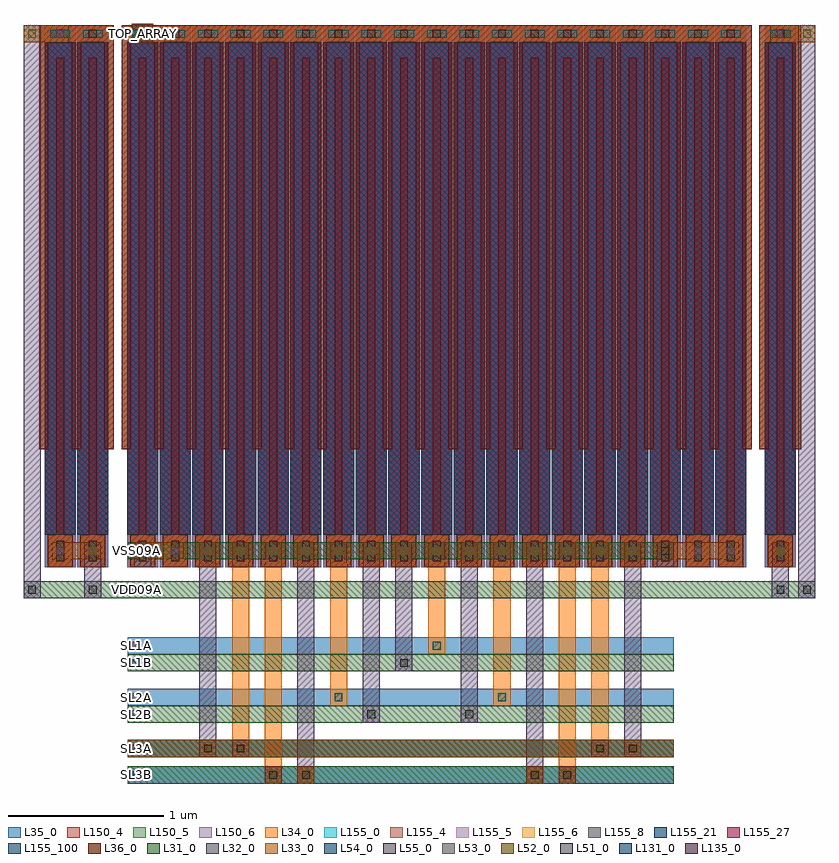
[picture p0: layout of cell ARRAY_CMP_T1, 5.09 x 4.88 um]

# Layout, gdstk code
from math import pi, radians
import gdstk
lib = gdstk.Library(unit=1e-6, precision=1e-09)
def R(c, l, rs):  # rectangles x0, y0, x1, y1
    for r in rs: c.add(gdstk.rectangle(r[:2], r[2:], *l))
def A(c, l, x, y, w, h, nx, ny, dx, dy):  # array of equal rectangles
    R(c, l, [(x+i*dx, y+j*dy, x+i*dx+w, y+j*dy+h) for i in range(nx) for j in range(ny)])
L31_0 = (31, 0)
L32_0 = (32, 0)
L33_0 = (33, 0)
L34_0 = (34, 0)
L35_0 = (35, 0)
L36_0 = (36, 0)
L51_0 = (51, 0)
L52_0 = (52, 0)
L53_0 = (53, 0)
L54_0 = (54, 0)
L55_0 = (55, 0)
L131_0 = (131, 0)
L135_0 = (135, 0)
L150_4 = (150, 4)
L150_5 = (150, 5)
L150_6 = (150, 6)
L155_0 = (155, 0)
L155_4 = (155, 4)
L155_5 = (155, 5)
L155_6 = (155, 6)
L155_8 = (155, 8)
L155_21 = (155, 21)
L155_27 = (155, 27)
L155_100 = (155, 100)

m5_m4_cdns_617525346187 = lib.new_cell('M5_M4_CDNS_617525346187')
R(m5_m4_cdns_617525346187, L34_0, [(-0.07,-0.105,0.07,0.105)])
R(m5_m4_cdns_617525346187, L35_0, [(-0.07,-0.105,0.07,0.105)])
R(m5_m4_cdns_617525346187, L54_0, [(-0.025,-0.065,0.025,0.065)])

m6_m5_cdns_617525346188 = lib.new_cell('M6_M5_CDNS_617525346188')
R(m6_m5_cdns_617525346188, L35_0, [(-0.07,-0.105,0.07,0.105)])
R(m6_m5_cdns_617525346188, L36_0, [(-0.055,-0.105,0.055,0.105)])
R(m6_m5_cdns_617525346188, L55_0, [(-0.025,-0.065,0.025,0.065)])

m5_m4_cdns_617525346189 = lib.new_cell('M5_M4_CDNS_617525346189')
R(m5_m4_cdns_617525346189, L34_0, [(-0.095,-0.055,0.095,0.055)])
R(m5_m4_cdns_617525346189, L35_0, [(-0.12,-0.055,0.12,0.055)])
R(m5_m4_cdns_617525346189, L54_0, [(-0.065,-0.025,0.065,0.025)])

m6_m5_cdns_6175253461810 = lib.new_cell('M6_M5_CDNS_6175253461810')
R(m6_m5_cdns_6175253461810, L35_0, [(-0.055,-0.055,0.055,0.055)])
R(m6_m5_cdns_6175253461810, L36_0, [(-0.055,-0.055,0.055,0.055)])
R(m6_m5_cdns_6175253461810, L55_0, [(-0.025,-0.025,0.025,0.025)])

cu1f_v2 = lib.new_cell('CU1F_v2')
R(cu1f_v2, L34_0, [(0.02,0,0.18,0.21), (-0.035,3.375,0.235,3.485)])
R(cu1f_v2, L35_0, [(0.02,0,0.18,0.21), (-0.035,3.375,0.235,3.485)])
R(cu1f_v2, L36_0, [(0.02,0,0.18,0.21), (-0.035,3.375,0.235,3.485)])
R(cu1f_v2, L150_4, [(0,0,0.2,3.485)])
R(cu1f_v2, L150_5, [(0,0,0.2,3.485)])
R(cu1f_v2, L150_6, [(0,0,0.2,3.485)])
R(cu1f_v2, L155_0, [(0,0.21,0.2,3.375)])
R(cu1f_v2, L155_4, [(0,0.21,0.2,3.375)])
R(cu1f_v2, L155_5, [(0,0.21,0.2,3.375)])
R(cu1f_v2, L155_6, [(0,0.21,0.2,3.375)])
R(cu1f_v2, L155_8, [(0,0.21,0.2,3.375)])
R(cu1f_v2, L155_21, [(0,0.21,0.2,3.375)])
R(cu1f_v2, L155_27, [(0,0.21,0.2,3.375)])
R(cu1f_v2, L155_100, [(0,0.21,0.2,3.375)])
cu1f_v2.add(gdstk.FlexPath([(0.205,3.455),(0.205,0.76)], 0.06, ends=(0.03, 0), simple_path=True, layer=34, datatype=0))  # L34_0
cu1f_v2.add(gdstk.FlexPath([(0.1,3.275),(0.1,0)], 0.05, ends="flush", simple_path=True, layer=34, datatype=0))  # L34_0
cu1f_v2.add(gdstk.FlexPath([(-0.005,3.455),(-0.005,0.76)], 0.06, ends=(0.03, 0), simple_path=True, layer=34, datatype=0))  # L34_0
cu1f_v2.add(gdstk.FlexPath([(0.205,0.76),(0.205,3.455)], 0.06, ends=(0, 0.03), simple_path=True, layer=35, datatype=0))  # L35_0
cu1f_v2.add(gdstk.FlexPath([(0.1,3.275),(0.1,0)], 0.05, ends="flush", simple_path=True, layer=35, datatype=0))  # L35_0
cu1f_v2.add(gdstk.FlexPath([(-0.005,0.76),(-0.005,3.455)], 0.06, ends=(0, 0.03), simple_path=True, layer=35, datatype=0))  # L35_0
cu1f_v2.add(gdstk.FlexPath([(0.205,0.76),(0.205,3.455)], 0.06, ends=(0, 0.03), simple_path=True, layer=36, datatype=0))  # L36_0
cu1f_v2.add(gdstk.FlexPath([(0.1,3.275),(0.1,0)], 0.05, ends="flush", simple_path=True, layer=36, datatype=0))  # L36_0
cu1f_v2.add(gdstk.FlexPath([(-0.005,0.76),(-0.005,3.455)], 0.06, ends=(0, 0.03), simple_path=True, layer=36, datatype=0))  # L36_0
cu1f_v2.add(gdstk.Reference(m5_m4_cdns_617525346187, (0.1,0.105), rotation=pi, x_reflection=True))
cu1f_v2.add(gdstk.Reference(m6_m5_cdns_617525346188, (0.1,0.105), rotation=pi, x_reflection=True))
cu1f_v2.add(gdstk.Reference(m5_m4_cdns_617525346189, (0.1,3.43)))
cu1f_v2.add(gdstk.Reference(m6_m5_cdns_6175253461810, (0.1,3.43)))

m2_m1_cdns_617525346180 = lib.new_cell('M2_M1_CDNS_617525346180')
R(m2_m1_cdns_617525346180, L31_0, [(-0.055,-0.055,0.055,0.055)])
R(m2_m1_cdns_617525346180, L32_0, [(-0.055,-0.055,0.055,0.055)])
R(m2_m1_cdns_617525346180, L51_0, [(-0.025,-0.025,0.025,0.025)])

m3_m2_cdns_617525346181 = lib.new_cell('M3_M2_CDNS_617525346181')
R(m3_m2_cdns_617525346181, L32_0, [(-0.055,-0.055,0.055,0.055)])
R(m3_m2_cdns_617525346181, L33_0, [(-0.055,-0.055,0.055,0.055)])
R(m3_m2_cdns_617525346181, L52_0, [(-0.025,-0.025,0.025,0.025)])

m4_m3_cdns_617525346182 = lib.new_cell('M4_M3_CDNS_617525346182')
R(m4_m3_cdns_617525346182, L33_0, [(-0.055,-0.055,0.055,0.055)])
R(m4_m3_cdns_617525346182, L34_0, [(-0.055,-0.055,0.055,0.055)])
R(m4_m3_cdns_617525346182, L53_0, [(-0.025,-0.025,0.025,0.025)])

m4_m3_cdns_617525346183 = lib.new_cell('M4_M3_CDNS_617525346183')
R(m4_m3_cdns_617525346183, L33_0, [(-0.07,-0.065,0.07,0.065)])
R(m4_m3_cdns_617525346183, L34_0, [(-0.055,-0.055,0.055,0.055)])
R(m4_m3_cdns_617525346183, L53_0, [(-0.025,-0.025,0.025,0.025)])

m3_m2_cdns_617525346184 = lib.new_cell('M3_M2_CDNS_617525346184')
R(m3_m2_cdns_617525346184, L32_0, [(-0.065,-0.06,0.065,0.06)])
R(m3_m2_cdns_617525346184, L33_0, [(-0.07,-0.065,0.07,0.065)])
R(m3_m2_cdns_617525346184, L52_0, [(-0.025,-0.025,0.025,0.025)])

m2_m1_cdns_617525346185 = lib.new_cell('M2_M1_CDNS_617525346185')
R(m2_m1_cdns_617525346185, L31_0, [(-0.055,-0.055,0.055,0.055)])
R(m2_m1_cdns_617525346185, L32_0, [(-0.065,-0.06,0.065,0.06)])
R(m2_m1_cdns_617525346185, L51_0, [(-0.025,-0.025,0.025,0.025)])

m5_m4_cdns_617525346186 = lib.new_cell('M5_M4_CDNS_617525346186')
R(m5_m4_cdns_617525346186, L34_0, [(-0.055,-0.055,0.055,0.055)])
R(m5_m4_cdns_617525346186, L35_0, [(-0.055,-0.055,0.055,0.055)])
R(m5_m4_cdns_617525346186, L54_0, [(-0.025,-0.025,0.025,0.025)])

array_cmp_t1 = lib.new_cell('ARRAY_CMP_T1')
R(array_cmp_t1, L31_0, [(0.535,-1.39,4.045,-1.28), (0.535,-1.22,4.045,-1.11), (0.535,-1,4.045,-0.89), (0.535,-0.67,4.045,-0.56), (-0.135,-0.2,4.955,-0.09), (0.535,0.05,4.045,0.16), (0.56,3.365,0.7,3.495)])
R(array_cmp_t1, L32_0, [(1.625,-1.39,1.735,0.16), (3.095,-1.39,3.205,0.16), (0.995,-1.22,1.105,0.16), (3.725,-1.22,3.835,0.16), (2.045,-1,2.155,0.16), (2.675,-1,2.785,0.16), (2.255,-0.67,2.365,0.16), (-0.135,-0.2,-0.025,3.485), (0.255,-0.2,0.365,0.16), (4.675,-0.2,4.785,0.16), (4.845,-0.2,4.955,3.485), (0.575,0,0.685,0.16), (3.935,0,4.045,0.16)])
A(array_cmp_t1, L33_0, 0.995, 0, 0.11, 0.16, 14, 1, 0.21, 0)
R(array_cmp_t1, L33_0, [(0.535,-1.22,4.045,-1.11), (4.675,0,4.785,0.16), (0.045,0.05,0.365,0.16), (0.575,0.05,0.895,0.16), (3.935,0.05,4.465,0.16), (-0.135,3.375,0.155,3.485), (4.665,3.375,4.955,3.485)])
R(array_cmp_t1, L34_0, [(1.415,-1.39,1.525,0.16), (3.305,-1.39,3.415,0.16), (1.205,-1.22,1.315,0.16), (3.515,-1.22,3.625,0.16), (1.835,-0.89,1.945,0.16), (2.885,-0.89,2.995,0.16), (2.465,-0.56,2.575,0.16)])
A(array_cmp_t1, L35_0, 0.535, -1.22, 3.51, 0.11, 1, 3, 0, 0.33)
R(array_cmp_t1, L35_0, [(0.535,-1.39,4.045,-1.28)])
R(array_cmp_t1, L131_0, [(0.565,-1.36,0.615,-1.31), (0.565,-0.97,0.615,-0.92), (0.565,-0.64,0.615,-0.59), (0.565,-0.17,0.615,-0.12), (0.565,0.08,0.615,0.13), (0.605,3.405,0.655,3.455)])
A(array_cmp_t1, L135_0, 0.565, -1.19, 0.05, 0.05, 1, 3, 0, 0.33)
array_cmp_t1.add(gdstk.Reference(cu1f_v2, (0,0)))
array_cmp_t1.add(gdstk.Reference(cu1f_v2, (0.21,0)))
array_cmp_t1.add(gdstk.Reference(cu1f_v2, (0.53,0)))
array_cmp_t1.add(gdstk.Reference(cu1f_v2, (0.74,0)))
array_cmp_t1.add(gdstk.Reference(cu1f_v2, (4.63,0)))
array_cmp_t1.add(gdstk.Reference(cu1f_v2, (4.31,0)))
array_cmp_t1.add(gdstk.Reference(cu1f_v2, (4.1,0)))
array_cmp_t1.add(gdstk.Reference(cu1f_v2, (3.89,0)))
array_cmp_t1.add(gdstk.Reference(cu1f_v2, (3.68,0)))
array_cmp_t1.add(gdstk.Reference(cu1f_v2, (3.47,0)))
array_cmp_t1.add(gdstk.Reference(cu1f_v2, (3.26,0)))
array_cmp_t1.add(gdstk.Reference(cu1f_v2, (3.05,0)))
array_cmp_t1.add(gdstk.Reference(cu1f_v2, (2.84,0)))
array_cmp_t1.add(gdstk.Reference(cu1f_v2, (2.63,0)))
array_cmp_t1.add(gdstk.Reference(cu1f_v2, (2.42,0)))
array_cmp_t1.add(gdstk.Reference(cu1f_v2, (2.21,0)))
array_cmp_t1.add(gdstk.Reference(cu1f_v2, (2,0)))
array_cmp_t1.add(gdstk.Reference(cu1f_v2, (1.79,0)))
array_cmp_t1.add(gdstk.Reference(cu1f_v2, (1.58,0)))
array_cmp_t1.add(gdstk.Reference(cu1f_v2, (1.37,0)))
array_cmp_t1.add(gdstk.Reference(cu1f_v2, (1.16,0)))
array_cmp_t1.add(gdstk.Reference(cu1f_v2, (0.95,0)))
array_cmp_t1.add(gdstk.Reference(m2_m1_cdns_617525346180, (3.15,-1.335)))
array_cmp_t1.add(gdstk.Reference(m2_m1_cdns_617525346180, (3.36,-1.335)))
array_cmp_t1.add(gdstk.Reference(m2_m1_cdns_617525346180, (3.57,-1.165)))
array_cmp_t1.add(gdstk.Reference(m2_m1_cdns_617525346180, (1.47,-1.335)))
array_cmp_t1.add(gdstk.Reference(m2_m1_cdns_617525346180, (1.68,-1.335)))
array_cmp_t1.add(gdstk.Reference(m2_m1_cdns_617525346180, (4.9,-0.145)))
array_cmp_t1.add(gdstk.Reference(m2_m1_cdns_617525346180, (-0.08,-0.145)))
array_cmp_t1.add(gdstk.Reference(m2_m1_cdns_617525346180, (3.99,0.105)))
array_cmp_t1.add(gdstk.Reference(m2_m1_cdns_617525346180, (4.73,-0.145)))
array_cmp_t1.add(gdstk.Reference(m2_m1_cdns_617525346180, (0.31,-0.145)))
array_cmp_t1.add(gdstk.Reference(m2_m1_cdns_617525346180, (2.31,-0.615)))
array_cmp_t1.add(gdstk.Reference(m2_m1_cdns_617525346180, (2.1,-0.945)))
array_cmp_t1.add(gdstk.Reference(m2_m1_cdns_617525346180, (2.73,-0.945)))
array_cmp_t1.add(gdstk.Reference(m2_m1_cdns_617525346180, (1.26,-1.165)))
array_cmp_t1.add(gdstk.Reference(m2_m1_cdns_617525346180, (3.78,-1.165)))
array_cmp_t1.add(gdstk.Reference(m2_m1_cdns_617525346180, (1.05,-1.165)))
array_cmp_t1.add(gdstk.Reference(m2_m1_cdns_617525346180, (0.63,0.105)))
array_cmp_t1.add(gdstk.Reference(m3_m2_cdns_617525346181, (3.15,-1.335)))
array_cmp_t1.add(gdstk.Reference(m3_m2_cdns_617525346181, (3.36,-1.335)))
array_cmp_t1.add(gdstk.Reference(m3_m2_cdns_617525346181, (3.57,-1.165)))
array_cmp_t1.add(gdstk.Reference(m3_m2_cdns_617525346181, (1.47,-1.335)))
array_cmp_t1.add(gdstk.Reference(m3_m2_cdns_617525346181, (1.68,-1.335)))
array_cmp_t1.add(gdstk.Reference(m3_m2_cdns_617525346181, (4.9,3.43)))
array_cmp_t1.add(gdstk.Reference(m3_m2_cdns_617525346181, (-0.08,3.43)))
array_cmp_t1.add(gdstk.Reference(m3_m2_cdns_617525346181, (1.05,0.105)))
array_cmp_t1.add(gdstk.Reference(m3_m2_cdns_617525346181, (1.26,0.105)))
array_cmp_t1.add(gdstk.Reference(m3_m2_cdns_617525346181, (1.47,0.105)))
array_cmp_t1.add(gdstk.Reference(m3_m2_cdns_617525346181, (1.68,0.105)))
array_cmp_t1.add(gdstk.Reference(m3_m2_cdns_617525346181, (1.89,0.105)))
array_cmp_t1.add(gdstk.Reference(m3_m2_cdns_617525346181, (2.1,0.105)))
array_cmp_t1.add(gdstk.Reference(m3_m2_cdns_617525346181, (2.31,0.105)))
array_cmp_t1.add(gdstk.Reference(m3_m2_cdns_617525346181, (2.52,0.105)))
array_cmp_t1.add(gdstk.Reference(m3_m2_cdns_617525346181, (2.73,0.105)))
array_cmp_t1.add(gdstk.Reference(m3_m2_cdns_617525346181, (2.94,0.105)))
array_cmp_t1.add(gdstk.Reference(m3_m2_cdns_617525346181, (3.15,0.105)))
array_cmp_t1.add(gdstk.Reference(m3_m2_cdns_617525346181, (3.36,0.105)))
array_cmp_t1.add(gdstk.Reference(m3_m2_cdns_617525346181, (3.57,0.105)))
array_cmp_t1.add(gdstk.Reference(m3_m2_cdns_617525346181, (3.78,0.105)))
array_cmp_t1.add(gdstk.Reference(m3_m2_cdns_617525346181, (4.73,0.105)))
array_cmp_t1.add(gdstk.Reference(m3_m2_cdns_617525346181, (3.99,0.105)))
array_cmp_t1.add(gdstk.Reference(m3_m2_cdns_617525346181, (0.63,0.105)))
array_cmp_t1.add(gdstk.Reference(m3_m2_cdns_617525346181, (1.26,-1.165)))
array_cmp_t1.add(gdstk.Reference(m3_m2_cdns_617525346181, (0.31,0.105)))
array_cmp_t1.add(gdstk.Reference(m3_m2_cdns_617525346181, (3.78,-1.165)))
array_cmp_t1.add(gdstk.Reference(m3_m2_cdns_617525346181, (1.05,-1.165)))
array_cmp_t1.add(gdstk.Reference(m4_m3_cdns_617525346182, (3.15,-1.335)))
array_cmp_t1.add(gdstk.Reference(m4_m3_cdns_617525346182, (3.36,-1.335)))
array_cmp_t1.add(gdstk.Reference(m4_m3_cdns_617525346182, (3.57,-1.165)))
array_cmp_t1.add(gdstk.Reference(m4_m3_cdns_617525346182, (1.68,-1.335)))
array_cmp_t1.add(gdstk.Reference(m4_m3_cdns_617525346182, (4.72,3.43), rotation=pi, x_reflection=True))
array_cmp_t1.add(gdstk.Reference(m4_m3_cdns_617525346182, (0.1,3.43)))
array_cmp_t1.add(gdstk.Reference(m4_m3_cdns_617525346182, (1.05,0.105)))
array_cmp_t1.add(gdstk.Reference(m4_m3_cdns_617525346182, (1.26,0.105)))
array_cmp_t1.add(gdstk.Reference(m4_m3_cdns_617525346182, (1.47,0.105)))
array_cmp_t1.add(gdstk.Reference(m4_m3_cdns_617525346182, (1.68,0.105)))
array_cmp_t1.add(gdstk.Reference(m4_m3_cdns_617525346182, (1.89,0.105)))
array_cmp_t1.add(gdstk.Reference(m4_m3_cdns_617525346182, (2.1,0.105)))
array_cmp_t1.add(gdstk.Reference(m4_m3_cdns_617525346182, (2.31,0.105)))
array_cmp_t1.add(gdstk.Reference(m4_m3_cdns_617525346182, (2.52,0.105)))
array_cmp_t1.add(gdstk.Reference(m4_m3_cdns_617525346182, (2.73,0.105)))
array_cmp_t1.add(gdstk.Reference(m4_m3_cdns_617525346182, (2.94,0.105)))
array_cmp_t1.add(gdstk.Reference(m4_m3_cdns_617525346182, (3.15,0.105)))
array_cmp_t1.add(gdstk.Reference(m4_m3_cdns_617525346182, (3.36,0.105)))
array_cmp_t1.add(gdstk.Reference(m4_m3_cdns_617525346182, (3.57,0.105)))
array_cmp_t1.add(gdstk.Reference(m4_m3_cdns_617525346182, (3.78,0.105)))
array_cmp_t1.add(gdstk.Reference(m4_m3_cdns_617525346182, (4.73,0.105)))
array_cmp_t1.add(gdstk.Reference(m4_m3_cdns_617525346182, (4.2,0.105)))
array_cmp_t1.add(gdstk.Reference(m4_m3_cdns_617525346182, (4.41,0.105)))
array_cmp_t1.add(gdstk.Reference(m4_m3_cdns_617525346182, (3.99,0.105)))
array_cmp_t1.add(gdstk.Reference(m4_m3_cdns_617525346182, (0.84,0.105)))
array_cmp_t1.add(gdstk.Reference(m4_m3_cdns_617525346182, (0.63,0.105)))
array_cmp_t1.add(gdstk.Reference(m4_m3_cdns_617525346182, (0.1,0.105)))
array_cmp_t1.add(gdstk.Reference(m4_m3_cdns_617525346182, (0.31,0.105)))
array_cmp_t1.add(gdstk.Reference(m4_m3_cdns_617525346182, (1.47,-1.335)))
array_cmp_t1.add(gdstk.Reference(m4_m3_cdns_617525346182, (1.26,-1.165)))
array_cmp_t1.add(gdstk.Reference(m4_m3_cdns_617525346182, (3.78,-1.165)))
array_cmp_t1.add(gdstk.Reference(m4_m3_cdns_617525346182, (1.05,-1.165)))
array_cmp_t1.add(gdstk.Reference(m4_m3_cdns_617525346183, (0.63,3.43)))
array_cmp_t1.add(gdstk.Reference(m3_m2_cdns_617525346184, (0.63,3.43)))
array_cmp_t1.add(gdstk.Reference(m2_m1_cdns_617525346185, (0.63,3.43)))
array_cmp_t1.add(gdstk.Reference(m5_m4_cdns_617525346186, (3.15,-1.335)))
array_cmp_t1.add(gdstk.Reference(m5_m4_cdns_617525346186, (1.89,-0.835)))
array_cmp_t1.add(gdstk.Reference(m5_m4_cdns_617525346186, (2.94,-0.835)))
array_cmp_t1.add(gdstk.Reference(m5_m4_cdns_617525346186, (2.52,-0.505)))
array_cmp_t1.add(gdstk.Reference(m5_m4_cdns_617525346186, (1.68,-1.335)))
array_cmp_t1.add(gdstk.Reference(m5_m4_cdns_617525346186, (1.05,-1.165)))
array_cmp_t1.add(gdstk.Reference(m5_m4_cdns_617525346186, (1.26,-1.165)))
array_cmp_t1.add(gdstk.Reference(m5_m4_cdns_617525346186, (1.47,-1.335)))
array_cmp_t1.add(gdstk.Reference(m5_m4_cdns_617525346186, (3.78,-1.165)))
array_cmp_t1.add(gdstk.Reference(m5_m4_cdns_617525346186, (3.57,-1.165)))
array_cmp_t1.add(gdstk.Reference(m5_m4_cdns_617525346186, (3.36,-1.335)))
array_cmp_t1.add(gdstk.Label('SL3A', (0.59,-1.165), layer=135, texttype=0))
array_cmp_t1.add(gdstk.Label('SL1A', (0.59,-0.505), layer=135, texttype=0))
array_cmp_t1.add(gdstk.Label('SL2A', (0.59,-0.835), layer=135, texttype=0))
array_cmp_t1.add(gdstk.Label('VDD09A', (0.59,-0.145), layer=131, texttype=0))
array_cmp_t1.add(gdstk.Label('SL3B', (0.59,-1.335), layer=131, texttype=0))
array_cmp_t1.add(gdstk.Label('VSS09A', (0.59,0.105), layer=131, texttype=0))
array_cmp_t1.add(gdstk.Label('SL1B', (0.59,-0.615), layer=131, texttype=0))
array_cmp_t1.add(gdstk.Label('SL2B', (0.59,-0.945), layer=131, texttype=0))
array_cmp_t1.add(gdstk.Label('TOP_ARRAY', (0.628,3.43), layer=131, texttype=0))

lib.write_gds('ARRAY_CMP_T1.gds')
